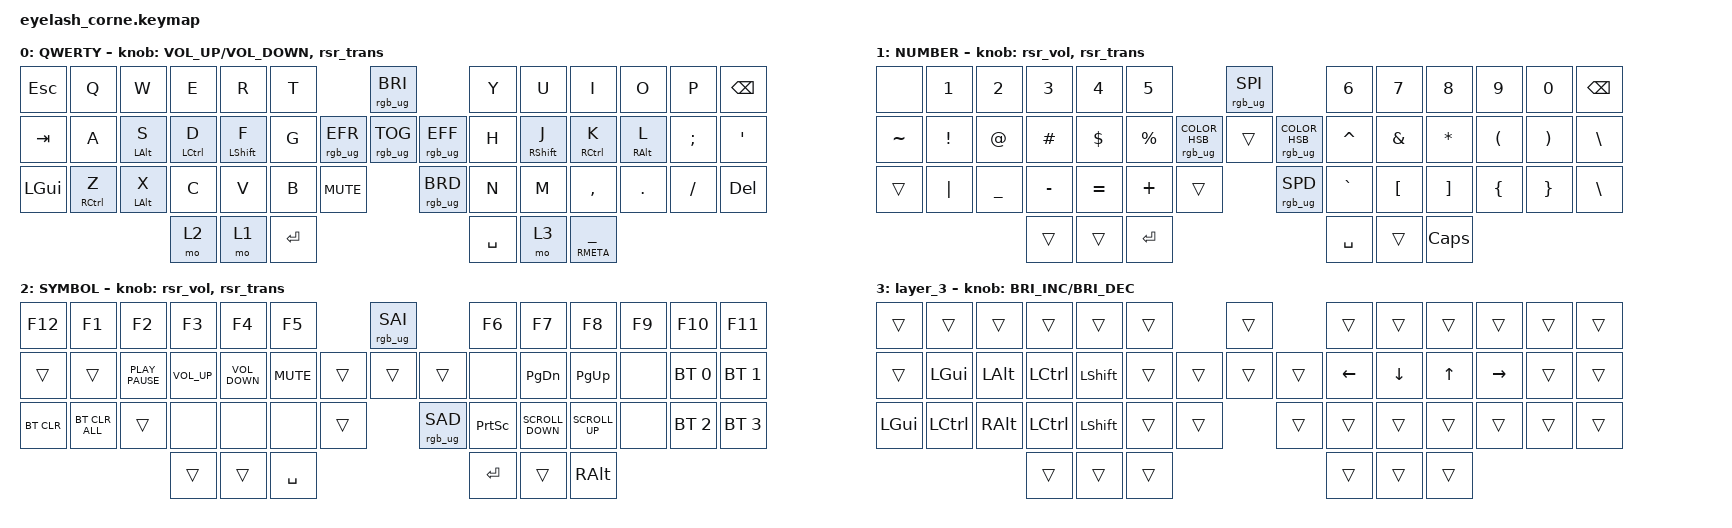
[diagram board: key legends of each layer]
#define ZMK_POINTING_DEFAULT_MOVE_VAL 1200  // 600
#define ZMK_POINTING_DEFAULT_SCRL_VAL 25   // 10

#include <input/processors.dtsi>
#include <zephyr/dt-bindings/input/input-event-codes.h>
#include <behaviors/runtime-sensor-rotate.dtsi>
#include <behaviors.dtsi>
#include <dt-bindings/zmk/bt.h>
#include <dt-bindings/zmk/keys.h>
#include <dt-bindings/zmk/pointing.h>
#include <dt-bindings/zmk/rgb.h>

&mmv_input_listener { input-processors = <&zip_xy_scaler 2 1>; };

&msc_input_listener { input-processors = <&zip_scroll_scaler 2 1>; };

&msc {
    acceleration-exponent = <1>;      // 0
    time-to-max-speed-ms = <100>;       // 300
    delay-ms = <0>;                   // 0
};

&mmv {
    time-to-max-speed-ms = <500>;
    acceleration-exponent = <1>;
    trigger-period-ms = <16>;
};

&soft_off { hold-time-ms = <2000>; };

/ {
    behaviors {
        td0: td0 {
            compatible = "zmk,behavior-tap-dance";
            display-name = "Shift/Caps Lock Tap Dance";
            #binding-cells = <0>;
            bindings = <&kp LEFT_SHIFT>, <&kp CAPS>;
        };
    };

    rgb_encoder: rgb_encoder {
        compatible = "zmk,behavior-sensor-rotate";
        #sensor-binding-cells = <0>;
        bindings = <&rgb_ug RGB_BRI>, <&rgb_ug RGB_BRD>;
    };

    scroll_encoder: scroll_encoder {
        compatible = "zmk,behavior-sensor-rotate";
        #sensor-binding-cells = <0>;
        bindings = <&msc SCRL_DOWN>, <&msc SCRL_UP>;

        tap-ms = <100>;
    };

    behaviors {
        rsr_vol: rsr_vol {
            compatible = "zmk,behavior-runtime-sensor-rotate";
            #sensor-binding-cells = <0>;
            tap-ms = <5>;
            cw-binding = <&kp C_VOL_UP>;
            ccw-binding = <&kp C_VOL_DN>;
        };

        rsr_trans: rsr_trans {
            compatible = "zmk,behavior-runtime-sensor-rotate";
            #sensor-binding-cells = <0>;
            tap-ms = <0>;
        };

        HMR: HMR {
            compatible = "zmk,behavior-hold-tap";
            label = "HMR";
            bindings = <&kp>, <&kp>;

            #binding-cells = <2>;
            tapping-term-ms = <250>;
            quick-tap-ms = <175>;
            flavor = "tap-preferred";
            hold-trigger-key-positions = <43 42 3 15 14 15 28 29 1 0 13 28 2 30 31 5 4 17 1 2 32 16 18 33 44 47 46 45 34>;
            hold-trigger-on-release;
        };

        HML: HML {
            compatible = "zmk,behavior-hold-tap";
            label = "HML";
            bindings = <&kp>, <&kp>;

            #binding-cells = <2>;
            tapping-term-ms = <250>;
            quick-tap-ms = <175>;
            flavor = "tap-preferred";
            hold-trigger-key-positions = <47 46 45 44 43 42 20 35 6 21 19 9 26 25 38 7 8 23 22 36 37 39 24 10 11 27 12 41 40>;
            hold-trigger-on-release;
        };
    };

    combos {
        compatible = "zmk,combos";

        softoff {
            bindings = <&soft_off>;
            key-positions = <1 15 29>;
        };
    };

    keymap {
        compatible = "zmk,keymap";

        default_layer {
            display-name = "QWERTY";
            bindings = <
&kp ESCAPE  &kp Q                 &kp W            &kp E         &kp R              &kp T                                     &rgb_ug RGB_BRI                   &kp Y      &kp U         &kp I                  &kp O        &kp P     &kp BSPC
&kp TAB     &kp A                 &HML LEFT_ALT S  &HML LCTRL D  &HML LEFT_SHIFT F  &kp G                    &rgb_ug RGB_EFR  &rgb_ug RGB_TOG  &rgb_ug RGB_EFF  &kp H      &HMR RSHFT J  &HMR RCTRL K           &HMR RALT L  &kp SEMI  &kp SQT
&kp LGUI    &HML RIGHT_CONTROL Z  &HML LEFT_ALT X  &kp C         &kp V              &kp B      &kp C_MUTE                     &rgb_ug RGB_BRD                   &kp N      &kp M         &kp COMMA              &kp DOT      &kp FSLH  &kp DEL
                                                   &mo 2         &mo 1              &kp ENTER                                                                   &kp SPACE  &mo 3         &HMR RMETA UNDERSCORE
            >;

            sensor-bindings =
                <&inc_dec_kp C_VOLUME_UP K_VOLUME_DOWN>,
                <&rsr_trans>;
        };

        lower_layer {
            display-name = "NUMBER";
            bindings = <
&none      &kp N1           &kp N2          &kp N3     &kp N4      &kp N5                                                   &rgb_ug RGB_SPI                                     &kp N6     &kp N7            &kp N8             &kp N9                &kp N0                 &kp BSPC
&kp TILDE  &kp EXCLAMATION  &kp AT_SIGN     &kp HASH   &kp DOLLAR  &kp PERCENT            &rgb_ug RGB_COLOR_HSB(360,98,52)  &trans           &rgb_ug RGB_COLOR_HSB(117,100,50)  &kp CARET  &kp AMPERSAND     &kp ASTERISK       &kp LEFT_PARENTHESIS  &kp RIGHT_PARENTHESIS  &kp BACKSLASH
&trans     &kp PIPE         &kp UNDERSCORE  &kp MINUS  &kp EQUAL   &kp PLUS     &trans                                      &rgb_ug RGB_SPD                                     &kp GRAVE  &kp LEFT_BRACKET  &kp RIGHT_BRACKET  &kp LEFT_BRACE        &kp RIGHT_BRACE        &kp BACKSLASH
                                            &trans     &trans      &kp ENTER                                                                                                    &kp SPACE  &trans            &kp CAPS
            >;

            sensor-bindings = <&rsr_vol &rsr_trans>;
        };

        raise_layer {
            display-name = "SYMBOL";
            bindings = <
&kp F12     &kp F1          &kp F2            &kp F3        &kp F4             &kp F5                        &rgb_ug RGB_SAI          &kp F6           &kp F7             &kp F8           &kp F9  &kp F10       &kp F11
&trans      &trans          &kp K_PLAY_PAUSE  &kp C_VOL_UP  &kp C_VOLUME_DOWN  &kp C_MUTE            &trans  &trans           &trans  &none            &kp PAGE_DOWN      &kp PAGE_UP      &none   &bt BT_SEL 0  &bt BT_SEL 1
&bt BT_CLR  &bt BT_CLR_ALL  &trans            &none         &none              &none       &trans            &rgb_ug RGB_SAD          &kp PRINTSCREEN  &kp K_SCROLL_DOWN  &kp K_SCROLL_UP  &none   &bt BT_SEL 2  &bt BT_SEL 3
                                              &trans        &trans             &kp SPACE                                              &kp RET          &trans             &kp RIGHT_ALT
            >;

            sensor-bindings = <&rsr_vol &rsr_trans>;
        };

        layer_3 {
            bindings = <
&trans    &trans        &trans         &trans     &trans          &trans                    &trans          &trans    &trans    &trans        &trans     &trans  &trans
&trans    &kp LEFT_GUI  &kp LALT       &kp LCTRL  &kp LEFT_SHIFT  &trans            &trans  &trans  &trans  &kp LEFT  &kp DOWN  &kp UP_ARROW  &kp RIGHT  &trans  &trans
&kp LGUI  &kp LCTRL     &kp RIGHT_ALT  &kp LCTRL  &kp LSHFT       &trans  &trans            &trans          &trans    &trans    &trans        &trans     &trans  &trans
                                       &trans     &trans          &trans                                    &trans    &trans    &trans
            >;

            sensor-bindings = <&inc_dec_kp C_BRIGHTNESS_INC C_BRIGHTNESS_DEC>;
        };
    };
};
